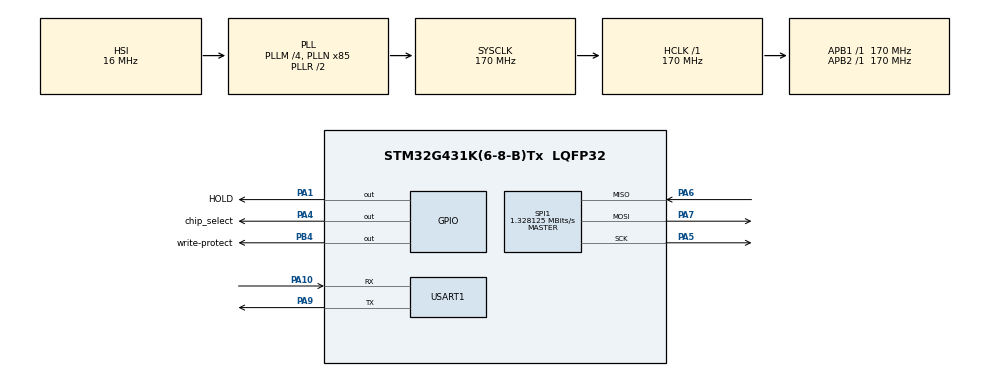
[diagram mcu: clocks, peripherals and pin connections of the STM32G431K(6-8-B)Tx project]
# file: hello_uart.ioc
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Mcu.Family=STM32G4
Mcu.Name=STM32G431K(6-8-B)Tx
Mcu.Package=LQFP32
NUCLEO-G431KB.VCP=true
NVIC.PriorityGroup=NVIC_PRIORITYGROUP_4
NVIC.USART1_IRQn=true\:0\:0\:false\:false\:true\:true\:true\:true
PA1.GPIO_Label=HOLD
PA1.Signal=GPIO_Output
PA10.Mode=Asynchronous
PA10.Signal=USART1_RX
PA13.GPIO_Label=T_SWDIO
PA13.Signal=SYS_JTMS-SWDIO
PA14.GPIO_Label=T_SWCLK
PA14.Signal=SYS_JTCK-SWCLK
PA2.Signal=USART2_TX
PA3.Signal=USART2_RX
PA4.GPIO_Label=chip_select
PA4.Signal=GPIO_Output
PA5.Mode=Full_Duplex_Master
PA5.Signal=SPI1_SCK
PA6.Mode=Full_Duplex_Master
PA6.Signal=SPI1_MISO
PA7.Mode=Full_Duplex_Master
PA7.Signal=SPI1_MOSI
PA9.Mode=Asynchronous
PA9.Signal=USART1_TX
PB3.GPIO_Label=T_SWO
PB3.Signal=SYS_JTDO-SWO
PB4.GPIO_Label=write-protect
PB4.Signal=GPIO_Output
ProjectManager.HeapSize=0x200
ProjectManager.StackSize=0x400
ProjectManager.TargetToolchain=CMake
RCC.ADC12Freq_Value=170000000
RCC.AHBFreq_Value=170000000
RCC.APB1Freq_Value=170000000
RCC.APB1TimFreq_Value=170000000
RCC.APB2Freq_Value=170000000
RCC.APB2TimFreq_Value=170000000
RCC.CortexFreq_Value=170000000
RCC.EXTERNAL_CLOCK_VALUE=12288000
RCC.HCLKFreq_Value=170000000
RCC.HSE_VALUE=8000000
RCC.HSI48_VALUE=48000000
RCC.HSI_VALUE=16000000
RCC.LSE_VALUE=32768
RCC.PLLM=RCC_PLLM_DIV4
RCC.PLLN=85
RCC.SYSCLKFreq_VALUE=170000000
RCC.SYSCLKSource=RCC_SYSCLKSOURCE_PLLCLK
RCC.USBFreq_Value=170000000
RCC.VCOOutputFreq_Value=340000000
SPI1.BaudRatePrescaler=SPI_BAUDRATEPRESCALER_128
SPI1.CalculateBaudRate=1.328125 MBits/s
SPI1.DataSize=SPI_DATASIZE_8BIT
SPI1.Direction=SPI_DIRECTION_2LINES
SPI1.Mode=SPI_MODE_MASTER
SPI1.NSSPMode=SPI_NSS_PULSE_DISABLE
SPI1.VirtualType=VM_MASTER
USART1.VirtualMode-Asynchronous=VM_ASYNC
VP_NUCLEO-G431KB_VS_BSP_COMMON.Mode=COMMON
VP_SYS_VS_DBSignals.Mode=DisableDeadBatterySignals
board=NUCLEO-G431KB

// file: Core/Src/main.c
/* USER CODE BEGIN Header */
/**
  ******************************************************************************
  * @file           : main.c
  * @brief          : Main program body
  ******************************************************************************
  * @attention
  *
  * Copyright (c) 2025 STMicroelectronics.
  * All rights reserved.
  *
  * This software is licensed under terms that can be found in the LICENSE file
  * in the root directory of this software component.
  * If no LICENSE file comes with this software, it is provided AS-IS.
  *
  ******************************************************************************
  */
/* USER CODE END Header */
#include "main.h"
#include <stdlib.h>
#include <math.h>

COM_InitTypeDef BspCOMInit;

SPI_HandleTypeDef hspi1;

UART_HandleTypeDef huart1;

/* USER CODE BEGIN PV */

const uint8_t flash_write_stat_reg    = 0x01;
const uint8_t flash_byte_program      = 0x02;
const uint8_t flash_read              = 0x03;
const uint8_t flash_write_disable     = 0x04;
const uint8_t flash_read_stat_reg     = 0x05;
const uint8_t flash_write_enable      = 0x06;
const uint8_t flash_hs_read           = 0x0b;
const uint8_t flash_4k_s_erase        = 0x20;
const uint8_t flash_en_write_stat_reg = 0x50;
const uint8_t flash_32k_b_erase       = 0x52;
const uint8_t flash_chip_erase        = 0x60;
const uint8_t flash_read_id           = 0x90;
const uint8_t flash_aai_word_program  = 0xad;
const uint8_t flash_64k_b_erase       = 0xd8;

int buf_len;
//uart_tx_buf has to be pretty big to accomodate the main menu text
char uart_tx_buf[200];
uint8_t uart_rx_buf[20];

uint8_t spi_rx_buf[100];
/* USER CODE END PV */

void SystemClock_Config(void);
static void MX_GPIO_Init(void);
static void MX_USART1_UART_Init(void);
static void MX_SPI1_Init(void);
/* USER CODE BEGIN PFP */

void get_flash_status();
void write_enable();
void write_disable();
void read_id();
void read_data();
void write_data();
void unlock_blocks();
void print_menu();
void erase4k();
void poll_chip();
uint8_t get_flash_status_register();
void write_aai();
/* USER CODE END PFP */

/* USER CODE BEGIN 0 */
//HAL_UART_Receive_IT(&hcom_uart, rx_buf, 10, 100);
/* USER CODE END 0 */

int main(void)
{

  /* MCU Configuration--------------------------------------------------------*/

  /* Reset of all peripherals, Initializes the Flash interface and the Systick. */
  HAL_Init();

  /* Configure the system clock */
  SystemClock_Config();

  /* Initialize all configured peripherals */
  MX_GPIO_Init();
  MX_USART1_UART_Init();
  MX_SPI1_Init();

  /* Initialize COM1 port (115200, 8 bits (7-bit data + 1 stop bit), no parity */
  BspCOMInit.BaudRate   = 115200;
  BspCOMInit.WordLength = COM_WORDLENGTH_8B;
  BspCOMInit.StopBits   = COM_STOPBITS_1;
  BspCOMInit.Parity     = COM_PARITY_NONE;
  BspCOMInit.HwFlowCtl  = COM_HWCONTROL_NONE;
  if (BSP_COM_Init(COM1, &BspCOMInit) != BSP_ERROR_NONE)
  {
    Error_Handler();
  }

  /* Infinite loop */
  /* USER CODE BEGIN WHILE */

  //pull hold and write protect high, they are active low
  //pull chip select high just in case
  HAL_GPIO_WritePin(HOLD_GPIO_Port, HOLD_Pin, GPIO_PIN_SET);
  HAL_GPIO_WritePin(write_protect_GPIO_Port, write_protect_Pin, GPIO_PIN_SET);
  HAL_GPIO_WritePin(chip_select_GPIO_Port, chip_select_Pin, GPIO_PIN_SET);

  //write_enable();
  //write_data();
  //unlock_blocks();
  //get_flash_status();
  //read_data();
  //write_disable();
  //read_id();

  //buf_len = sprintf(uart_tx_buf, "%02x \n", spi_rx_buf[0]);
  //HAL_UART_Transmit(&hcom_uart, (uint8_t*)uart_tx_buf, buf_len, 1000);

  //print menu
  print_menu();

  while (1)
  {

    if (HAL_UART_Receive(&hcom_uart, uart_rx_buf, 2, 1000) == HAL_OK){
      switch (uart_rx_buf[0])
      {
      case '1':
        // print status
        get_flash_status();
        break;
      case '2':
        //read from chip
        read_data();
        break;
      case '3':
        //write to chip
        write_data();
        break;
      case '4':
        //unlock blocks
        unlock_blocks();
        break;
      case '5':
        //enable write
        write_enable();
        break;
      case '6':
        //disable write
        write_disable();
        break;
      case '7':
        //erase 4k
        erase4k();
        break;
      case '8':
        //write aai
        write_aai();
        break;
      default:
        break;
      }

      // print menu
      print_menu();
    }
    /* USER CODE END WHILE */

  }
}

void SystemClock_Config(void)
{
  RCC_OscInitTypeDef RCC_OscInitStruct = {0};
  RCC_ClkInitTypeDef RCC_ClkInitStruct = {0};

  /** Configure the main internal regulator output voltage
  */
  HAL_PWREx_ControlVoltageScaling(PWR_REGULATOR_VOLTAGE_SCALE1_BOOST);

  /** Initializes the RCC Oscillators according to the specified parameters
  * in the RCC_OscInitTypeDef structure.
  */
  RCC_OscInitStruct.OscillatorType = RCC_OSCILLATORTYPE_HSI;
  RCC_OscInitStruct.HSIState = RCC_HSI_ON;
  RCC_OscInitStruct.HSICalibrationValue = RCC_HSICALIBRATION_DEFAULT;
  RCC_OscInitStruct.PLL.PLLState = RCC_PLL_ON;
  RCC_OscInitStruct.PLL.PLLSource = RCC_PLLSOURCE_HSI;
  RCC_OscInitStruct.PLL.PLLM = RCC_PLLM_DIV4;
  RCC_OscInitStruct.PLL.PLLN = 85;
  RCC_OscInitStruct.PLL.PLLP = RCC_PLLP_DIV2;
  RCC_OscInitStruct.PLL.PLLQ = RCC_PLLQ_DIV2;
  RCC_OscInitStruct.PLL.PLLR = RCC_PLLR_DIV2;
  if (HAL_RCC_OscConfig(&RCC_OscInitStruct) != HAL_OK)
  {
    Error_Handler();
  }

  /** Initializes the CPU, AHB and APB buses clocks
  */
  RCC_ClkInitStruct.ClockType = RCC_CLOCKTYPE_HCLK|RCC_CLOCKTYPE_SYSCLK
                              |RCC_CLOCKTYPE_PCLK1|RCC_CLOCKTYPE_PCLK2;
  RCC_ClkInitStruct.SYSCLKSource = RCC_SYSCLKSOURCE_PLLCLK;
  RCC_ClkInitStruct.AHBCLKDivider = RCC_SYSCLK_DIV1;
  RCC_ClkInitStruct.APB1CLKDivider = RCC_HCLK_DIV1;
  RCC_ClkInitStruct.APB2CLKDivider = RCC_HCLK_DIV1;

  if (HAL_RCC_ClockConfig(&RCC_ClkInitStruct, FLASH_LATENCY_4) != HAL_OK)
  {
    Error_Handler();
  }
}

static void MX_SPI1_Init(void)
{

  /* SPI1 parameter configuration*/
  hspi1.Instance = SPI1;
  hspi1.Init.Mode = SPI_MODE_MASTER;
  hspi1.Init.Direction = SPI_DIRECTION_2LINES;
  hspi1.Init.DataSize = SPI_DATASIZE_8BIT;
  hspi1.Init.CLKPolarity = SPI_POLARITY_LOW;
  hspi1.Init.CLKPhase = SPI_PHASE_1EDGE;
  hspi1.Init.NSS = SPI_NSS_SOFT;
  hspi1.Init.BaudRatePrescaler = SPI_BAUDRATEPRESCALER_128;
  hspi1.Init.FirstBit = SPI_FIRSTBIT_MSB;
  hspi1.Init.TIMode = SPI_TIMODE_DISABLE;
  hspi1.Init.CRCCalculation = SPI_CRCCALCULATION_DISABLE;
  hspi1.Init.CRCPolynomial = 7;
  hspi1.Init.CRCLength = SPI_CRC_LENGTH_DATASIZE;
  hspi1.Init.NSSPMode = SPI_NSS_PULSE_DISABLE;
  if (HAL_SPI_Init(&hspi1) != HAL_OK)
  {
    Error_Handler();
  }

}

static void MX_USART1_UART_Init(void)
{

  huart1.Instance = USART1;
  huart1.Init.BaudRate = 115200;
  huart1.Init.WordLength = UART_WORDLENGTH_8B;
  huart1.Init.StopBits = UART_STOPBITS_1;
  huart1.Init.Parity = UART_PARITY_NONE;
  huart1.Init.Mode = UART_MODE_TX_RX;
  huart1.Init.HwFlowCtl = UART_HWCONTROL_NONE;
  huart1.Init.OverSampling = UART_OVERSAMPLING_16;
  huart1.Init.OneBitSampling = UART_ONE_BIT_SAMPLE_DISABLE;
  huart1.Init.ClockPrescaler = UART_PRESCALER_DIV1;
  huart1.AdvancedInit.AdvFeatureInit = UART_ADVFEATURE_NO_INIT;
  if (HAL_UART_Init(&huart1) != HAL_OK)
  {
    Error_Handler();
  }
  if (HAL_UARTEx_SetTxFifoThreshold(&huart1, UART_TXFIFO_THRESHOLD_1_8) != HAL_OK)
  {
    Error_Handler();
  }
  if (HAL_UARTEx_SetRxFifoThreshold(&huart1, UART_RXFIFO_THRESHOLD_1_8) != HAL_OK)
  {
    Error_Handler();
  }
  if (HAL_UARTEx_DisableFifoMode(&huart1) != HAL_OK)
  {
    Error_Handler();
  }

}

static void MX_GPIO_Init(void)
{
  GPIO_InitTypeDef GPIO_InitStruct = {0};

  /* GPIO Ports Clock Enable */
  __HAL_RCC_GPIOA_CLK_ENABLE();
  __HAL_RCC_GPIOB_CLK_ENABLE();

  /*Configure GPIO pin Output Level */
  HAL_GPIO_WritePin(GPIOA, HOLD_Pin|chip_select_Pin, GPIO_PIN_RESET);

  /*Configure GPIO pin Output Level */
  HAL_GPIO_WritePin(write_protect_GPIO_Port, write_protect_Pin, GPIO_PIN_RESET);

  /*Configure GPIO pins : HOLD_Pin chip_select_Pin */
  GPIO_InitStruct.Pin = HOLD_Pin|chip_select_Pin;
  GPIO_InitStruct.Mode = GPIO_MODE_OUTPUT_PP;
  GPIO_InitStruct.Pull = GPIO_NOPULL;
  GPIO_InitStruct.Speed = GPIO_SPEED_FREQ_LOW;
  HAL_GPIO_Init(GPIOA, &GPIO_InitStruct);

  /*Configure GPIO pin : write_protect_Pin */
  GPIO_InitStruct.Pin = write_protect_Pin;
  GPIO_InitStruct.Mode = GPIO_MODE_OUTPUT_PP;
  GPIO_InitStruct.Pull = GPIO_NOPULL;
  GPIO_InitStruct.Speed = GPIO_SPEED_FREQ_LOW;
  HAL_GPIO_Init(write_protect_GPIO_Port, &GPIO_InitStruct);

}

/* USER CODE BEGIN 4 */

void print_menu(){
  //buf_len = sprintf(uart_tx_buf, "--MENU--\n1.status\t2.read\n3.write\t4.unlock blocks\n5.enable write\n6.disable write\n7.erase4k\n");
  buf_len = sprintf(uart_tx_buf, "--MENU--\n%-14s\t2.read\n%-14s\t4.unlock blocks\n%-14s\t6.disable write\n%-14s\t8.write aai\n","1.status","3.write", "5.enable write", "7.erase4k");
  HAL_UART_Transmit(&hcom_uart, (uint8_t*)uart_tx_buf, buf_len, 1000);
}

void unlock_blocks(){
  uint8_t bytes[] = {flash_write_stat_reg, 0x00};

  HAL_GPIO_WritePin(chip_select_GPIO_Port, chip_select_Pin, GPIO_PIN_RESET);
  HAL_StatusTypeDef txstat = HAL_SPI_Transmit(&hspi1, &flash_write_enable, 1, 1000);
  HAL_GPIO_WritePin(chip_select_GPIO_Port, chip_select_Pin, GPIO_PIN_SET);

  HAL_GPIO_WritePin(chip_select_GPIO_Port, chip_select_Pin, GPIO_PIN_RESET);
  txstat = HAL_SPI_Transmit(&hspi1, bytes, 2, 1000);
  HAL_GPIO_WritePin(chip_select_GPIO_Port, chip_select_Pin, GPIO_PIN_SET);

  if (txstat != HAL_OK){
    __NOP();
  }
}

void erase4k(){
  uint8_t bytes[] = {flash_4k_s_erase, 0x00, 0x00, 0x00};
  HAL_GPIO_WritePin(chip_select_GPIO_Port, chip_select_Pin, GPIO_PIN_RESET);
  HAL_StatusTypeDef txstat = HAL_SPI_Transmit(&hspi1, bytes, 4, 1000);
  HAL_GPIO_WritePin(chip_select_GPIO_Port, chip_select_Pin, GPIO_PIN_SET);
}

void write_data(){
  uint8_t bytes[] = {flash_byte_program, 0x00, 0x00, 0x00, 0xad};
  HAL_GPIO_WritePin(chip_select_GPIO_Port, chip_select_Pin, GPIO_PIN_RESET);
  HAL_StatusTypeDef txstat = HAL_SPI_Transmit(&hspi1, bytes, 5, 1000);
  HAL_GPIO_WritePin(chip_select_GPIO_Port, chip_select_Pin, GPIO_PIN_SET);
  if (txstat != HAL_OK){
    __NOP();
  }
}

void write_aai(){
  //write aai, 3 bytes starting address, 2 bytes data
  //polling
  //aai, 2 bytes
  //polling
  //uint8_t bytes[] = {flash_aai_word_program, 0x00, 0x00, 0x00, 0xde, 0xad};
  uint8_t data[] = {
    flash_aai_word_program,
    0x00, 0x00, 0x00,
    0xde,
    0xad,
    0xbe,
    0xef,
    0x13,
    0x37,
    0xca,
    0xfe,
    0xb0,
    0xba,
    0xf0,
    0x0d,
  };
  //enable write
  write_enable();

  //send 6 bytes. Then, enter a loop sending three bytes and polling
  HAL_GPIO_WritePin(chip_select_GPIO_Port, chip_select_Pin, GPIO_PIN_RESET);
  HAL_SPI_Transmit(&hspi1, data, 6, 1000);
  HAL_GPIO_WritePin(chip_select_GPIO_Port, chip_select_Pin, GPIO_PIN_SET);

  for(int x=6; x < (sizeof(data)/sizeof(uint8_t)); x+=2){
    //polling first
    poll_chip();
    HAL_GPIO_WritePin(chip_select_GPIO_Port, chip_select_Pin, GPIO_PIN_RESET);
    HAL_SPI_Transmit(&hspi1, (uint8_t[]){flash_aai_word_program, data[x], data[x+1]}, 3, 1000);
    HAL_GPIO_WritePin(chip_select_GPIO_Port, chip_select_Pin, GPIO_PIN_SET);
  }

  //writing fininshed, need to disable write
  write_disable();
}

void poll_chip(){
  uint8_t chip_status;
  uint8_t chip_status_mask = 0x01;
  do{
    chip_status = get_flash_status_register();
  }while(chip_status & chip_status_mask);
}

void read_data(){

  //prompt the user, ask how many bytes they want to read
  buf_len = sprintf(uart_tx_buf, "How many bytes to read?(2 digits):\n");
  HAL_UART_Transmit(&hcom_uart, (uint8_t*)uart_tx_buf, buf_len, 1000);

  //receive 3 bytes, 2 for digits, plus \n from putty
  //need to make a blocking call
  HAL_StatusTypeDef uart_rx_stat;
  do{
    uart_rx_stat = HAL_UART_Receive(&hcom_uart, uart_rx_buf, 3, 1000);
  }while(uart_rx_stat != HAL_OK);

  //extract just the two digits from the received input
  char temp[] = {uart_rx_buf[0], uart_rx_buf[1]};
  float bytes_to_read = atoi(temp);

  uint8_t bytes[] = {flash_read, 0x00, 0x00, 0x00};
  HAL_GPIO_WritePin(chip_select_GPIO_Port, chip_select_Pin, GPIO_PIN_RESET);
  HAL_StatusTypeDef txstat = HAL_SPI_Transmit(&hspi1, bytes, 4, 1000);
  HAL_StatusTypeDef rxstat = HAL_SPI_Receive(&hspi1, spi_rx_buf, (int)bytes_to_read, 1000);
  HAL_GPIO_WritePin(chip_select_GPIO_Port, chip_select_Pin, GPIO_PIN_SET);

  buf_len = sprintf(uart_tx_buf, "Data:\n");
  HAL_UART_Transmit(&hcom_uart, (uint8_t*)uart_tx_buf, buf_len, 1000);

  //transmit the read data via uart
  //print in rows of four bytes. If a row is not full ex: read one byte - fill the rest with 0's
  //needs to be refactored, works, but not the way that you said it would
  for (int x=0; x < ceil(bytes_to_read/4.0); x++){
    buf_len = sprintf(uart_tx_buf, "%02x %02x %02x %02x\n", spi_rx_buf[(4*x)],spi_rx_buf[(4*x)+1],spi_rx_buf[(4*x)+2],spi_rx_buf[(4*x)+3]);
    HAL_UART_Transmit(&hcom_uart, (uint8_t*)uart_tx_buf, buf_len, 1000);
  }
  if (txstat != HAL_OK || rxstat != HAL_OK){
    __NOP();
  }
}

void get_flash_status(){
  //get status from chip
  HAL_GPIO_WritePin(chip_select_GPIO_Port, chip_select_Pin, GPIO_PIN_RESET);
  HAL_SPI_Transmit(&hspi1, &flash_read_stat_reg, 1, 1000);
  HAL_SPI_Receive(&hspi1, spi_rx_buf, 1, 1000);
  HAL_GPIO_WritePin(chip_select_GPIO_Port, chip_select_Pin, GPIO_PIN_SET);

  //transmit status via uart
  buf_len = sprintf(uart_tx_buf, "chip status: %02x\n", spi_rx_buf[0]);
  HAL_UART_Transmit(&hcom_uart, (uint8_t *)uart_tx_buf, buf_len, 1000);
}

uint8_t get_flash_status_register(){
  HAL_GPIO_WritePin(chip_select_GPIO_Port, chip_select_Pin, GPIO_PIN_RESET);
  HAL_SPI_Transmit(&hspi1, &flash_read_stat_reg, 1, 1000);
  HAL_SPI_Receive(&hspi1, spi_rx_buf, 1, 1000);
  HAL_GPIO_WritePin(chip_select_GPIO_Port, chip_select_Pin, GPIO_PIN_SET);
  return spi_rx_buf[0];
}

void write_enable(){
  HAL_GPIO_WritePin(chip_select_GPIO_Port, chip_select_Pin, GPIO_PIN_RESET);
  HAL_SPI_Transmit(&hspi1, &flash_write_enable, 1, 1000);
  HAL_GPIO_WritePin(chip_select_GPIO_Port, chip_select_Pin, GPIO_PIN_SET);
}

void write_disable(){
  HAL_GPIO_WritePin(chip_select_GPIO_Port, chip_select_Pin, GPIO_PIN_RESET);
  HAL_SPI_Transmit(&hspi1, &flash_write_disable, 1, 1000);
  HAL_GPIO_WritePin(chip_select_GPIO_Port, chip_select_Pin, GPIO_PIN_SET);
}

void read_id(){
  uint8_t bytes[] = {flash_read_id, 0x00, 0x00, 0x01};
  HAL_GPIO_WritePin(chip_select_GPIO_Port, chip_select_Pin, GPIO_PIN_RESET);
  HAL_StatusTypeDef txstat = HAL_SPI_Transmit(&hspi1, bytes, 4, 1000);
  HAL_StatusTypeDef rxstat = HAL_SPI_Receive(&hspi1, spi_rx_buf, 2, 1000);
  HAL_GPIO_WritePin(chip_select_GPIO_Port, chip_select_Pin, GPIO_PIN_SET);
  if (txstat != HAL_OK || rxstat != HAL_OK){
    __NOP();
  }
}

/* USER CODE END 4 */

/* USER CODE BEGIN Header */
/**
  ******************************************************************************
  * @file           : main.c
  * @brief          : Main program body
  ******************************************************************************
  * @attention
  *
  * Copyright (c) 2025 STMicroelectronics.
  * All rights reserved.
  *
  * This software is licensed under terms that can be found in the LICENSE file
  * in the root directory of this software component.
  * If no LICENSE file comes with this software, it is provided AS-IS.
  *
  ******************************************************************************
  */
/* USER CODE END Header */

void Error_Handler(void)
{
  __disable_irq();
  while (1)
  {
  }
}
